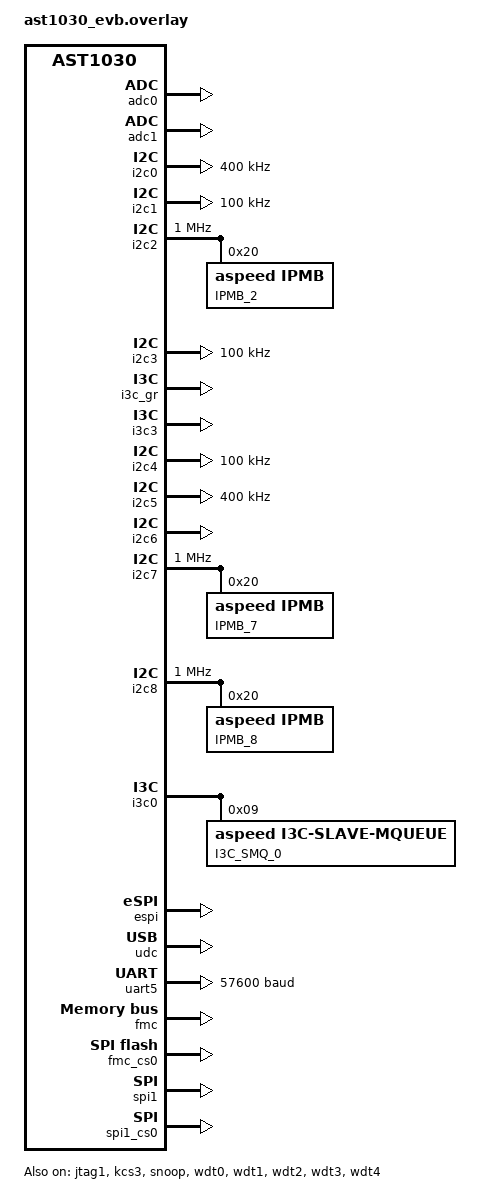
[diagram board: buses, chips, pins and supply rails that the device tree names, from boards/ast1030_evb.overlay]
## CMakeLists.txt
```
# SPDX-License-Identifier: Apache-2.0

cmake_minimum_required(VERSION 3.13.1)

find_package(Zephyr REQUIRED HINTS $ENV{ZEPHYR_BASE})
project(yv35-cl)

set(common_path ../../common)
FILE(GLOB app_sources src/ipmi/*.c src/platform/*.c src/lib/*.c src/shell/*.c)
FILE(GLOB common_sources ${common_path}/service/*.c ${common_path}/service/*/*.c ${common_path}/hal/*.c ${common_path}/dev/*.c ${common_path}/shell/*.c ${common_path}/shell/commands/*.c)

target_sources(app PRIVATE ${app_sources})
target_sources(app PRIVATE ${common_sources})

# Common Lib
target_sources(app PRIVATE ${common_path}/lib/libutil.c)
target_sources(app PRIVATE ${common_path}/lib/power_status.c)
target_sources(app PRIVATE ${common_path}/lib/timer.c)
target_sources(app PRIVATE ${common_path}/lib/util_pmbus.c)
target_sources(app PRIVATE ${common_path}/lib/util_spi.c)
target_sources(app PRIVATE ${common_path}/lib/util_sys.c)
target_sources(app PRIVATE ${common_path}/lib/util_worker.c)

target_include_directories(app PRIVATE ${ZEPHYR_BASE}/include/portability)

# Common Includes
target_include_directories(app PRIVATE ${common_path}) 
target_include_directories(app PRIVATE ${common_path}/include)
target_include_directories(app PRIVATE ${common_path}/dev/include) 
target_include_directories(app PRIVATE ${common_path}/hal) 
target_include_directories(app PRIVATE ${common_path}/lib) 
target_include_directories(app PRIVATE ${common_path}/service/host)
target_include_directories(app PRIVATE ${common_path}/service/ipmb) 
target_include_directories(app PRIVATE ${common_path}/service/ipmi/include) 
target_include_directories(app PRIVATE ${common_path}/service/logging) 
target_include_directories(app PRIVATE ${common_path}/service/mctp) 
target_include_directories(app PRIVATE ${common_path}/service/pldm) 
target_include_directories(app PRIVATE ${common_path}/service/sensor) 
target_include_directories(app PRIVATE ${common_path}/service/usb) 
target_include_directories(app PRIVATE ${common_path}/shell/commands)
target_include_directories(app PRIVATE ${common_path}/shell)

# Platform Specific Includes
target_include_directories(app PRIVATE src/ipmi/include)
target_include_directories(app PRIVATE src/lib)
target_include_directories(app PRIVATE src/platform)

# Fail build if there are any warnings 
target_compile_options(app PRIVATE -Werror)
```

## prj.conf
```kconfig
# cmsis-os2
CONFIG_CMSIS_RTOS_V2=y
CONFIG_NUM_PREEMPT_PRIORITIES=56
CONFIG_CMSIS_V2_EVT_FLAGS_MAX_COUNT=128
#CONFIG_HEAP_MEM_POOL_SIZE=16384
#CONFIG_CMSIS_V2_MSGQ_MAX_DYNAMIC_SIZE=32768
CONFIG_HEAP_MEM_POOL_SIZE=32768
CONFIG_CMSIS_V2_MSGQ_MAX_DYNAMIC_SIZE=8192
CONFIG_POLL=y
CONFIG_THREAD_NAME=y
CONFIG_THREAD_STACK_INFO=y
CONFIG_THREAD_MONITOR=y
CONFIG_IRQ_OFFLOAD=n
CONFIG_INIT_STACKS=y
CONFIG_SCHED_SCALABLE=y
CONFIG_CMSIS_V2_MEM_SLAB_MAX_DYNAMIC_SIZE=128
CONFIG_CMSIS_V2_THREAD_MAX_COUNT=23
CONFIG_CMSIS_V2_THREAD_DYNAMIC_MAX_COUNT=10
CONFIG_TIMEOUT_64BIT=y
CONFIG_MP_NUM_CPUS=1

# disable for qemu delay too short issue
CONFIG_QEMU_ICOUNT=n

# define aspeed driver
CONFIG_GPIO=y
CONFIG_SPI=y
CONFIG_SPI_NOR_MULTI_DEV=y
CONFIG_I2C=y
CONFIG_THREAD_RUNTIME_STATS=y
CONFIG_GPIO_SHELL=n
CONFIG_I2C_SLAVE=y
CONFIG_I2C_EEPROM_SLAVE=y
CONFIG_I2C_IPMB_SLAVE=y
CONFIG_PWM=n
CONFIG_ADC=y
CONFIG_JTAG=y
CONFIG_FLASH=y
CONFIG_FLASH_SHELL=n
CONFIG_SENSOR=y
CONFIG_HWINFO=y
CONFIG_ESPI=y
CONFIG_PECI=y
CONFIG_MINIMAL_LIBC_MALLOC_ARENA_SIZE=102400
CONFIG_REBOOT=y
CONFIG_POSIX_CLOCK=y
CONFIG_STACK_SENTINEL=y
CONFIG_LOG=y
CONFIG_LOG_BACKEND_UART=y
CONFIG_SHELL=y
CONFIG_SHELL_BACKEND_SERIAL_INIT_PRIORITY=99
CONFIG_IPMI=y
CONFIG_IPMI_KCS_ASPEED=y
CONFIG_I3C=y
CONFIG_I3C_SLAVE=y
CONFIG_I3C_SLAVE_MQUEUE=y
CONFIG_I3C_ASPEED_MAX_IBI_PAYLOAD=3
CONFIG_I3C_SLAVE_INIT_PRIORITY=60
CONFIG_I3C_SHELL=y
CONFIG_I2C_SHELL=y
CONFIG_WATCHDOG=y
CONFIG_WDT_DISABLE_AT_BOOT=n
#CONFIG_SHELL_MINIMAL=y
#USB
CONFIG_USB=y
CONFIG_USB_DEVICE_STACK=y
CONFIG_USB_DEVICE_PRODUCT="Zephyr CDC ACM"
CONFIG_USB_CDC_ACM=y
CONFIG_USB_CDC_ACM_RINGBUF_SIZE=576
CONFIG_USB_DEVICE_VID=0x1d6b
CONFIG_USB_DEVICE_PID=0x0104
CONFIG_LOG_BUFFER_SIZE=5120
#USB

CONFIG_USERSPACE=n
CONFIG_KERNEL_BIN_NAME="Y35BCL"

# logging
CONFIG_SHELL_BACKEND_SERIAL_LOG_LEVEL_WRN=y

CONFIG_ADC_SHELL=n
CONFIG_JTAG_SHELL=n
CONFIG_HWINFO_SHELL=n
CONFIG_PECI_SHELL=n
CONFIG_MEM_SHELL=n
CONFIG_SENSOR_SHELL=n
CONFIG_SHELL_LOG_LEVEL_INF=n
#CONFIG_SHELL_TAB=n
#CONFIG_SHELL_TAB_AUTOCOMPLETION=n
CONFIG_SHELL_METAKEYS=n
CONFIG_SHELL_HELP=n
CONFIG_SHELL_HISTORY=n
CONFIG_SHELL_STATS=n
CONFIG_KERNEL_SHELL=y
CONFIG_DEVICE_SHELL=n
CONFIG_DATE_SHELL=n
CONFIG_SHELL_CMDS=n
CONFIG_SHELL_CMDS_RESIZE=n
CONFIG_SHELL_LOG_BACKEND=n
```

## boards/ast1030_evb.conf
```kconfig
CONFIG_GPIO_ASPEED_SGPIOM=n
CONFIG_GPIO_ASPEED=y
CONFIG_SPI_ASPEED=y
CONFIG_I2C_ASPEED=y
CONFIG_ADC_ASPEED=y
CONFIG_JTAG_ASPEED=y
CONFIG_PWM_ASPEED=n
CONFIG_TACH_ASPEED=n
CONFIG_ESPI_ASPEED=n
CONFIG_PECI_ASPEED=y
CONFIG_PECI_ASPEED_INTERRUPT_DRIVEN=y
CONFIG_USB_ASPEED=y
CONFIG_I3C_ASPEED=n
CONFIG_CRYPTO=n
CONFIG_CRYPTO_ASPEED=n
CONFIG_RSA_ASPEED=n
CONFIG_SNOOP_ASPEED=y
CONFIG_WDT_ASPEED=y
CONFIG_CRYPTO=y
CONFIG_CRYPTO_ASPEED=y
CONFIG_HASH_SHELL=n
CONFIG_RSA_ASPEED=y

CONFIG_ADC_ASPEED_ACQUISITION_THREAD_STACK_SIZE=512
CONFIG_SYSTEM_WORKQUEUE_STACK_SIZE=2048
CONFIG_IDLE_STACK_SIZE=512
```

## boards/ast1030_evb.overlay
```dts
&adc0 {
	status = "okay";
	pinctrl-0 = <&pinctrl_adc0_default &pinctrl_adc1_default
		&pinctrl_adc2_default &pinctrl_adc3_default
		&pinctrl_adc4_default &pinctrl_adc5_default
		&pinctrl_adc6_default &pinctrl_adc7_default>;
};

&adc1 {
	status = "okay";
	pinctrl-0 = <&pinctrl_adc8_default &pinctrl_adc9_default
		&pinctrl_adc10_default &pinctrl_adc11_default
		&pinctrl_adc12_default &pinctrl_adc13_default
		&pinctrl_adc14_default &pinctrl_adc15_default>;
};

&jtag1{
	status = "okay";
};

&i2c0 {
	pinctrl-0 = <&pinctrl_i2c0_default>;
	status = "okay";
	clock-frequency = <I2C_BITRATE_FAST>;
};

&i2c1 {
	pinctrl-0 = <&pinctrl_i2c1_default>;
	status = "okay";
	clock-frequency = <I2C_BITRATE_STANDARD>;
};

&i2c2 {
	pinctrl-0 = <&pinctrl_i2c2_default>;
	clock-frequency = <I2C_BITRATE_FAST_PLUS>;
	status = "okay";

	ipmb2: ipmb@10 {
		compatible = "aspeed,ipmb";
		reg = <0x20>;
		label = "IPMB_2";
		size = <10>;
#ifdef CONFIG_I2C_IPMB_SLAVE
		status = "okay";
#endif
	};

};

&i2c3 {
	pinctrl-0 = <&pinctrl_i2c3_default>;
	status = "okay";
	clock-frequency = <I2C_BITRATE_STANDARD>;
};

&i3c_gr {
	status = "okay";
	pull-up-resistor-ohm = <2000>, <2000>, <2000>, <2000>, <2000>, <2000>;
};

&i3c3 {
	status = "okay";
	assigned-address = <0x11>;
	i3c-scl-hz = <5000000>;
	pinctrl-0 = <&pinctrl_i3c3_default>;
	i3c-pp-scl-hi-period-ns = <100>;
	i3c-pp-scl-lo-period-ns = <100>;
};

&i2c4 {
	pinctrl-0 = <&pinctrl_i2c4_default>;
	status = "okay";
	clock-frequency = <I2C_BITRATE_STANDARD>;
};

&i2c5 {
	pinctrl-0 = <&pinctrl_i2c5_default>;
	status = "okay";
	clock-frequency = <I2C_BITRATE_FAST>;
};


&i2c6 {
  pinctrl-0 = <&pinctrl_i2c6_default>;
  status = "okay";
};

&i2c7 {
	pinctrl-0 = <&pinctrl_i2c7_default>;
	clock-frequency = <I2C_BITRATE_FAST_PLUS>;
	status = "okay";

	ipmb7: ipmb@20 {
		compatible = "aspeed,ipmb";
		reg = <0x20>;
		label = "IPMB_7";
		size = <10>;
#ifdef CONFIG_I2C_IPMB_SLAVE
		status = "okay";
#endif
	};

};

&i2c8 {
	pinctrl-0 = <&pinctrl_i2c8_default>;
	clock-frequency = <I2C_BITRATE_FAST_PLUS>;
	status = "okay";

	ipmb8: ipmb@20 {
		compatible = "aspeed,ipmb";
		reg = <0x20>;
		label = "IPMB_8";
		size = <10>;
#ifdef CONFIG_I2C_IPMB_SLAVE
		status = "okay";
#endif
	};

};

&i2c9 {
	pinctrl-0 = <&pinctrl_i2c9_default>;
	status = "disabled";

};

&i3c0 {
	status = "okay";
	pinctrl-0 = <&pinctrl_hvi3c0_default>;
	i3c-scl-hz = <8000000>;
	secondary;
	ibi-append-pec;
	i3c0_smq: i3c-slave-mqueue@9 {
		compatible = "aspeed,i3c-slave-mqueue";
		reg = <0x9>;
		msg-size = <256>;
		num-of-msgs = <8>;
		mandatory-data-byte = <0xbf>;
		label = "I3C_SMQ_0";
		status = "okay";
	};
};

&espi {
	status = "okay";

	perif,dma-mode;
	perif,memcyc-src-addr = <0x98000000>;
	perif,memcyc-size = <0x10000>;

	oob,dma-mode;

	flash,dma-mode;
	flash,safs-mode = <0x2>;
};

&udc {
	status = "okay";
};

&kcs3 {
	status = "okay";
	addr = <0xca2>;
};

&uart5 {
	current-speed = <57600>;
};

&gpio0_a_d {
	aspeed,persist-maps = <0x08000000>;
};

&snoop {
	status = "okay";
	port = <0x80>, <0x81>;
};

&fmc {
	status = "okay";
};

&fmc_cs0 {
	status = "okay";
	spi-max-buswidth = <4>;
	spi-max-frequency = <50000000>;

	partitions {
		compatible = "fixed-partitions";
		#address-cells = <1>;
		#size-cells = <1>;
		boot_partition: partition@0 {
			label = "image-0";
			reg = <0x0 0x100000>;
		};
		dfu_partition: partition@1 {
			label = "image-1";
			reg = <0x0 0x100000>;
		};
	};
};

&fmc_cs1 {
	status = "disabled";
	spi-max-buswidth = <4>;
	spi-max-frequency = <50000000>;
};

&spi1 {
	status = "okay";
};

&spi1_cs0 {
	status = "okay";
	spi-max-buswidth = <4>;
	spi-max-frequency = <50000000>;
	re-init-support;
};

&spi1_cs1 {
	status = "disabled";
	spi-max-buswidth = <4>;
	spi-max-frequency = <50000000>;
	re-init-support;
};

&spi2 {
	status = "disabled";
};

&spi2_cs0 {
	status = "disabled";
	spi-max-buswidth = <4>;
	spi-max-frequency = <50000000>;
	re-init-support;
};

&spi2_cs1 {
	status = "disabled";
	spi-max-buswidth = <4>;
	spi-max-frequency = <50000000>;
	re-init-support;
};

&wdt0 {
  status = "okay";
};


&wdt1 {
	status = "okay";
};

&wdt2 {
	status = "okay";
};

&wdt3 {
	status = "okay";
};

&wdt4 {
	status = "okay";
};

&sram0 {
	reg = <0 DT_SIZE_K(576)>, <0x90000 DT_SIZE_K(192)>;
};
```

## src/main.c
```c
/*
 * Copyright (c) 2012-2014 Wind River Systems, Inc.
 *
 * SPDX-License-Identifier: Apache-2.0
 */

#include <zephyr.h>
#include <kernel.h>
#include <cmsis_os2.h>
#include "sensor.h"
#include "hal_i2c.h"
#include "plat_gpio.h"
#include "ipmi.h"
#include "usb.h"
#include "kcs.h"
#include "power_status.h"
#include "plat_class.h"
#include "adc.h"
#include "hal_peci.h"
#include "adm1278.h"
#include "timer.h"
#include "fru.h"
#include "usb.h"
#include "util_sys.h"

void device_init()
{
	adc_init();
	peci_init();
	adm1278_init();
}

int switch_spi_mux(const struct device *args)
{
	gpio_set(FM_SPI_PCH_MASTER_SEL_R, GPIO_LOW);
	return 1;
}

void set_sys_status()
{
	gpio_set(BIC_READY, GPIO_HIGH);
	set_DC_status(PWRGD_SYS_PWROK);
	set_DC_on_delayed_status();
	set_DC_off_delayed_status();
	set_post_status(FM_BIOS_POST_CMPLT_BMC_N);
	set_post_thread();
}

void main(void)
{
	printf("Hello, wellcome to yv35 craterlake %x%x.%x.%x\n", BIC_FW_YEAR_MSB, BIC_FW_YEAR_LSB,
	       BIC_FW_WEEK, BIC_FW_VER);

	util_init_timer();
	util_init_I2C();

	init_platform_config();
	disable_PRDY_interrupt();
	sensor_init();
	FRU_init();
	ipmi_init();
	kcs_init();
	usb_dev_init();
	device_init();
	set_sys_status();
	scu_init();
	init_me_firmware();
}

#define DEF_PROJ_GPIO_PRIORITY 78

DEVICE_DEFINE(PRE_DEF_PROJ_GPIO, "PRE_DEF_PROJ_GPIO_NAME", &gpio_init, NULL, NULL, NULL,
	      POST_KERNEL, DEF_PROJ_GPIO_PRIORITY, NULL);

#define SWITCH_SPI_MUX_PRIORITY 81 // right after spi driver init

DEVICE_DEFINE(PRE_SWITCH_SPI_MUX, "PRE_SWITCH_SPI_MUX_NAME", &switch_spi_mux, NULL, NULL, NULL,
	      POST_KERNEL, SWITCH_SPI_MUX_PRIORITY, NULL);
```
